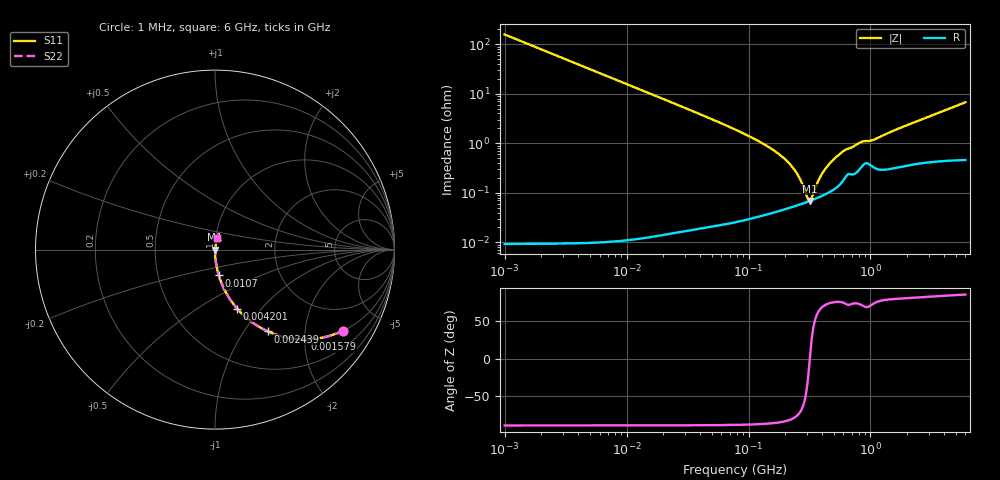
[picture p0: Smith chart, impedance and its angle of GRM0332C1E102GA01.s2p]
!Murata Part Number: GRM0332C1E102GA01
!These Parameters are Measured in Series Mode Connection
!Data Generated on Mar 30, 2021
!  o--ll--o
!Port1  Port2
!  o------o
!Operation Temp=25[degC], DC Bias Voltage=0[V]
!Freq. Start=1000[kHz] Stop=6[GHz] 401[Steps]
# Hz S RI R 50
!Freq.(Hz) S11(Real) S11(Imag) S21(Real) S21(Imag) S12(Real) S12(Imag) S22(Real) S22(Imag)
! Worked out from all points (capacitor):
!   401 points, 1 MHz to 6 GHz, reference 50 ohm
!   read as one part in series: C = 1.01 nF near 1.044 MHz
!   lowest |Z| = 68.5 mohm at 318.4 MHz (marker M1)
!   series resonance near 318.1 MHz, so ESL is about 250 pH
!   S11 on the Smith chart (normalised r, x): 1 MHz: 1.00, -3.15; 1.579 MHz: 1.00, -2.00; 2.439 MHz: 1.00, -1.29; 4.201 MHz: 1.00, -0.75; 10.7 MHz: 1.00, -0.29; 6 GHz: 1.01, +0.13
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1000000  0.7133 -0.4522  0.2867 0.4522  0.2867 0.4522  0.7133 -0.4522
1578894  0.4995 -0.5  0.5005 0.5  0.5005 0.5  0.4995 -0.5
2439274  0.2948 -0.4559  0.7052 0.4559  0.7052 0.4559  0.2948 -0.4559
4201409  0.1235 -0.3289  0.8765 0.3289  0.8765 0.3289  0.1235 -0.3289
4293785  0.1189 -0.3235  0.8811 0.3235  0.8811 0.3235  0.1189 -0.3235
1.0704e7  0.0213 -0.144  0.9787 0.144  0.9787 0.144  0.0213 -0.144
1.843659e7  0.00734 -0.0846  0.9927 0.0846  0.9927 0.0846  0.00734 -0.0846
7.745967e7  0.000615 -0.019  0.9994 0.019  0.9994 0.019  0.000615 -0.019
1.39348e8  0.000443 -0.00904  0.9996 0.00904  0.9996 0.00904  0.000443 -0.00904
2.016844e8  0.000491 -0.0046  0.9995 0.0046  0.9995 0.0046  0.000491 -0.0046
2.506837e8  0.000562 -0.00234  0.9994 0.00234  0.9994 0.00234  0.000562 -0.00234
2.734687e8  0.0006 -0.00148  0.9994 0.00148  0.9994 0.00148  0.0006 -0.00148
3.048839e8  0.000658 -0.000413  0.9993 0.000413  0.9993 0.000413  0.000658 -0.000413
3.184382e8  0.000685 1e-05  0.9993 -1e-05  0.9993 -1e-05  0.000685 1e-05
3.325952e8  0.000714 0.000433  0.9993 -0.000433  0.9993 -0.000433  0.000714 0.000433
3.708027e8  0.000798 0.00149  0.9992 -0.00149  0.9992 -0.00149  0.000798 0.00149
4.133993e8  0.000905 0.00258  0.9991 -0.00258  0.9991 -0.00258  0.000905 0.00258
5.60538e8  0.00149 0.0059  0.9985 -0.0059  0.9985 -0.0059  0.00149 0.0059
8.291285e8  0.00324 0.00994  0.9968 -0.00994  0.9968 -0.00994  0.00324 0.00994
1.053225e9  0.0034 0.0111  0.9966 -0.0111  0.9966 -0.0111  0.0034 0.0111
1.428092e9  0.00326 0.0162  0.9967 -0.0162  0.9967 -0.0162  0.00326 0.0162
6e9  0.00901 0.0663  0.991 -0.0663  0.991 -0.0663  0.00901 0.0663
